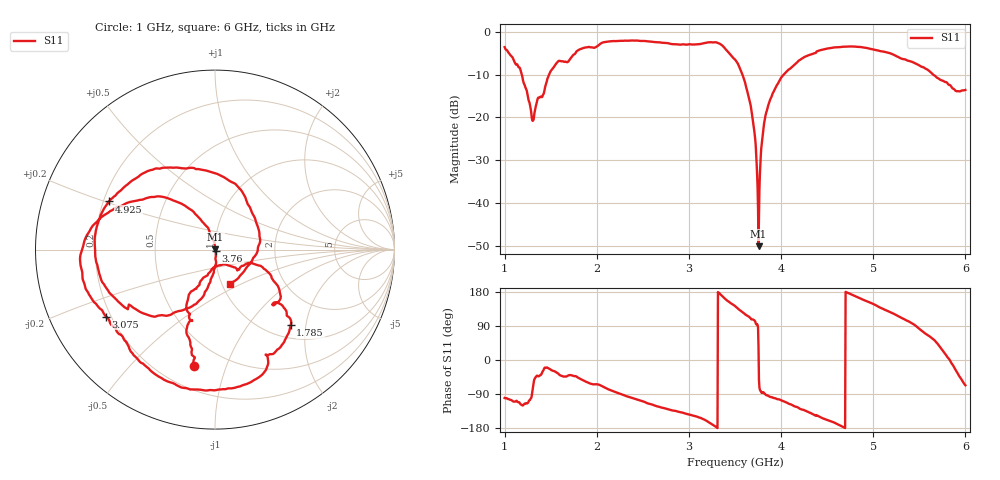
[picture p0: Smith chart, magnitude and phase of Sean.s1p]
!Agilent Technologies,E8364B,MY43040633,A.07.50.37
!Agilent E8364B: A.07.50.37
!Date: Tuesday, December 16, 2025 16:55:32
!Correction: S11(Full 1 Port(1))
!S1P File: Measurement: S11:
# Hz S  RI  R 50
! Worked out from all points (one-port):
!   1001 points, 1 GHz to 6 GHz, reference 50 ohm
!   lowest |S11| = -50.1 dB at 3.755 GHz (marker M1), VSWR 1.01, Z = 50.3 + j0.18 ohm
!   |S11| at or under -10 dB: 1.186 GHz to 1.483 GHz (297.1 MHz wide, 22.3 % of centre); 3.58 GHz to 4.028 GHz (447.9 MHz wide, 11.8 % of centre); 5.649 GHz to end of sweep
!   S11 on the Smith chart (normalised r, x): 1 GHz: 0.34, -0.78; 1.785 GHz: 1.26, -1.65; 3.075 GHz: 0.18, -0.27; 3.76 GHz: 1.01, -0.01; 4.925 GHz: 0.22, +0.21; 6 GHz: 1.09, -0.44
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1e9  -0.1171 -0.651
1.165e9  -0.1534 -0.345
1.305e9  0.0211 -0.0884
1.5e9  0.314 -0.1479
1.625e9  0.3334 -0.3049
1.785e9  0.4218 -0.4206
2.25e9  0.0172 -0.7805
2.875e9  -0.51 -0.4952
3.075e9  -0.6071 -0.3728
3.31e9  -0.7409 -0.00325
3.5e9  -0.3751 0.2887
3.59e9  -0.1668 0.2444
3.67e9  -0.047 0.1297
3.705e9  -0.0201 0.0728
3.735e9  -0.00226 0.0283
3.755e9  0.00256 0.00179
3.76e9  0.00431 -0.00572
3.775e9  0.00435 -0.0274
3.805e9  0.0062 -0.0678
3.855e9  -0.0082 -0.1317
3.99e9  -0.0724 -0.2687
4.125e9  -0.1936 -0.3411
4.41e9  -0.5161 -0.3108
4.75e9  -0.6698 0.0656
4.925e9  -0.5896 0.2683
5.375e9  -0.1039 0.4482
5.765e9  0.247 0.095
6e9  0.0827 -0.1921
